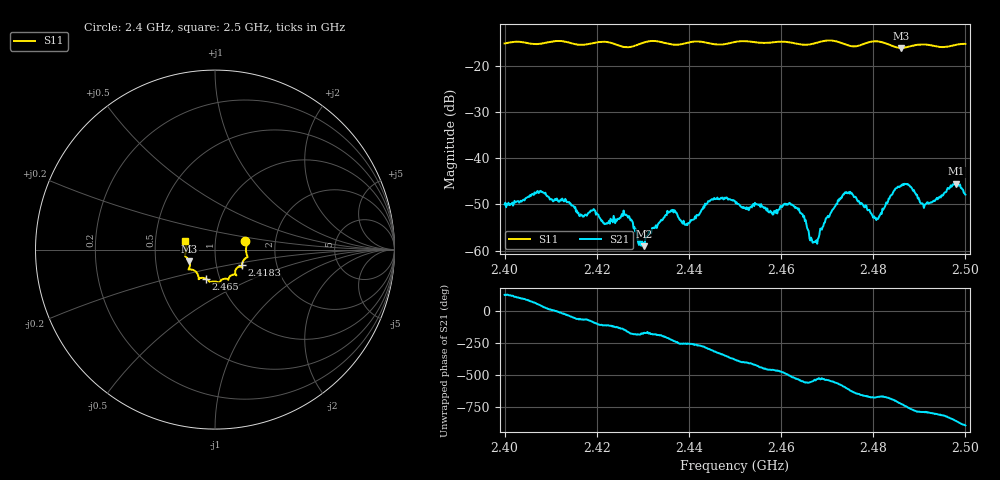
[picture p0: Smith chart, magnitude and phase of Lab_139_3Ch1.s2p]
# Hz S RI R 50
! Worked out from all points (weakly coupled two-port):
!   601 points, 2.4 GHz to 2.5 GHz, reference 50 ohm
!   highest |S21| = -45.48 dB at 2.498 GHz (marker M1); lowest = -59.0 dB at 2.4303 GHz (marker M2)
!   lowest |S11| = -16.1 dB at 2.486 GHz (marker M3), VSWR 1.37, Z = 37.3 - j4.96 ohm
!   |S11| at or under -10 dB: start of sweep to end of sweep
!   S12 and S22 are empty: the file has one direction only
!   S11 on the Smith chart (normalised r, x): 2.4 GHz: 1.40, +0.13; 2.4183 GHz: 1.33, -0.24; 2.465 GHz: 0.86, -0.28; 2.5 GHz: 0.71, +0.07
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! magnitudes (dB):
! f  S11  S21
! 2.4 GHz  -15.1  -50.0
! 2.408 GHz  -15.2  -47.3
! 2.4167 GHz  -15.4  -52.3
! 2.4183 GHz  -15.2  -51.7
! 2.4218 GHz  -14.8  -54.2
! 2.4263 GHz  -15.9  -52.2
! 2.4303 GHz  -14.9  -59.0
! 2.4333 GHz  -14.7  -54.2
! 2.4358 GHz  -15.3  -51.6
! 2.4395 GHz  -15.0  -54.2
! 2.45 GHz  -14.8  -49.3
! 2.4578 GHz  -14.9  -51.7
! 2.462 GHz  -14.9  -49.8
! 2.465 GHz  -15.4  -52.5
! 2.4667 GHz  -15.3  -57.6
! 2.4738 GHz  -15.3  -47.4
! 2.4805 GHz  -14.7  -52.8
! 2.4833 GHz  -15.3  -48.8
! 2.486 GHz  -16.1  -46.0
! 2.491 GHz  -15.3  -50.7
! 2.498 GHz  -15.4  -45.5
! 2.5 GHz  -15.2  -47.9
